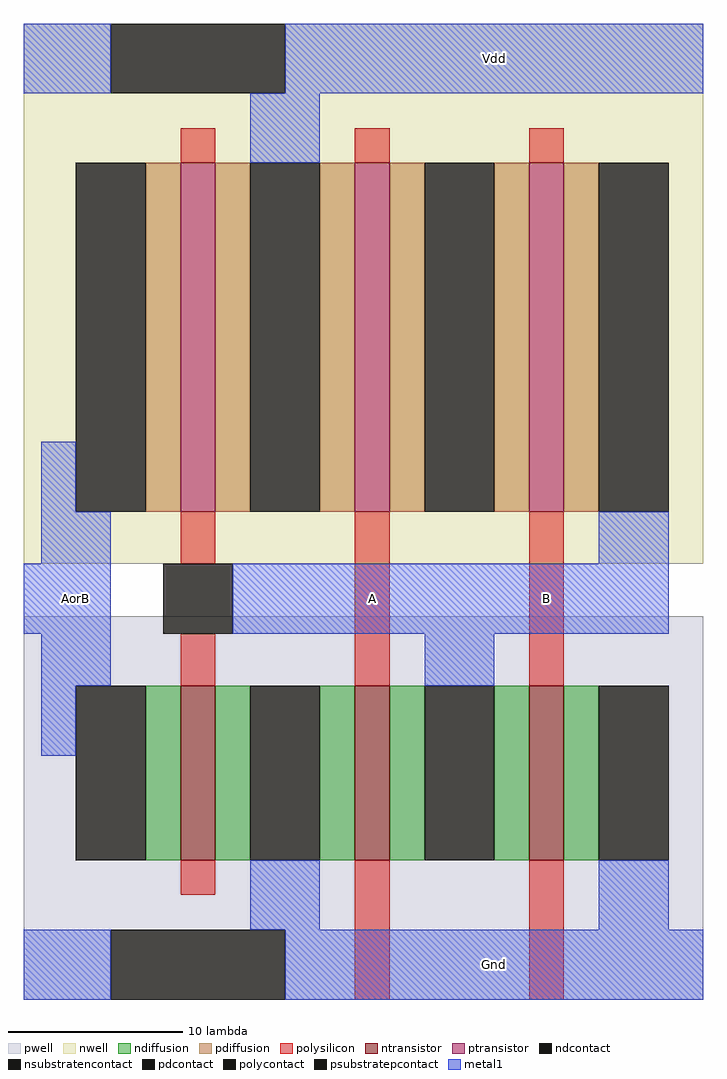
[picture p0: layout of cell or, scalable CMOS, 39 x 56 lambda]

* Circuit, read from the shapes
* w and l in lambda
.subckt or A AorB B Gnd Vdd
M1 Gnd n1 AorB Gnd nfet w=10 l=2
M2 n1 A Gnd Gnd nfet w=10 l=2
M3 Gnd B n1 Gnd nfet w=10 l=2
M4 Vdd n1 AorB Vdd pfet w=20 l=2
M5 n2 A Vdd Vdd pfet w=20 l=2
M6 n1 B n2 Vdd pfet w=20 l=2
.ends

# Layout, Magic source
magic
tech scmos
<< pwell >>
rect -21 -23 18 -1
<< nwell >>
rect -21 2 18 33
<< polysilicon >>
rect -12 25 -10 27
rect -2 25 0 27
rect 8 25 10 27
rect -12 2 -10 5
rect -12 -5 -10 -2
rect -2 -5 0 5
rect 8 -5 10 5
rect -12 -17 -10 -15
rect -2 -23 0 -15
rect 8 -23 10 -15
<< ndiffusion >>
rect -14 -15 -12 -5
rect -10 -15 -8 -5
rect -4 -15 -2 -5
rect 0 -15 2 -5
rect 6 -15 8 -5
rect 10 -15 12 -5
<< pdiffusion >>
rect -14 5 -12 25
rect -10 5 -8 25
rect -4 5 -2 25
rect 0 5 2 25
rect 6 5 8 25
rect 10 5 12 25
<< metal1 >>
rect -21 29 -16 33
rect -6 29 18 33
rect -8 25 -4 29
rect -20 5 -18 9
rect -20 2 -16 5
rect 12 2 16 5
rect -21 -2 -16 2
rect -9 -2 16 2
rect -20 -5 -16 -2
rect 2 -5 6 -2
rect -20 -9 -18 -5
rect -8 -19 -4 -15
rect 12 -19 16 -15
rect -21 -23 -16 -19
rect -6 -23 18 -19
<< ntransistor >>
rect -12 -15 -10 -5
rect -2 -15 0 -5
rect 8 -15 10 -5
<< ptransistor >>
rect -12 5 -10 25
rect -2 5 0 25
rect 8 5 10 25
<< polycontact >>
rect -13 -2 -9 2
<< ndcontact >>
rect -18 -15 -14 -5
rect -8 -15 -4 -5
rect 2 -15 6 -5
rect 12 -15 16 -5
<< pdcontact >>
rect -18 5 -14 25
rect -8 5 -4 25
rect 2 5 6 25
rect 12 5 16 25
<< psubstratepcontact >>
rect -16 -23 -6 -19
<< nsubstratencontact >>
rect -16 29 -6 33
<< labels >>
rlabel metal1 -20 -5 -16 5 3 AorB
rlabel polysilicon 8 -5 10 5 1 B
rlabel polysilicon -2 -5 0 5 1 A
rlabel metal1 -6 29 18 33 5 Vdd
rlabel metal1 -6 -23 18 -19 1 Gnd
<< end >>
